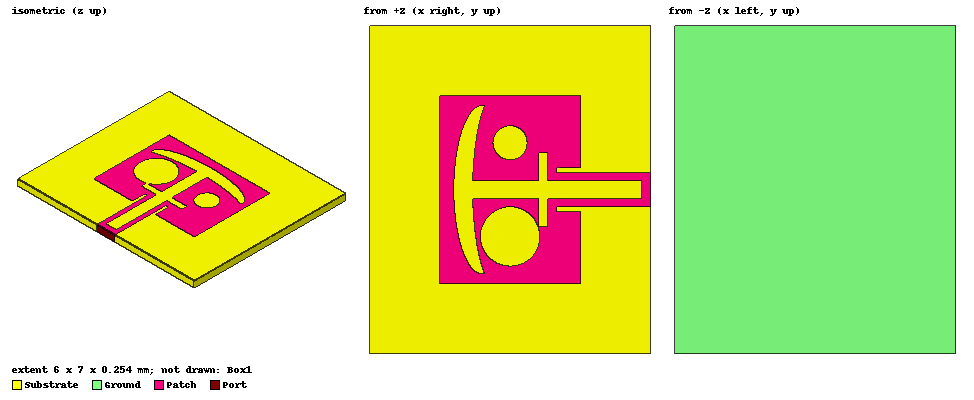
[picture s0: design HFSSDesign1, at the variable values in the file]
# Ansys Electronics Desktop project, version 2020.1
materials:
  vacuum: permittivity=1
  Rogers RT/duroid 5880 (tm): permittivity=2.2 dielectric_loss_tangent=0.0009
  air: permittivity=1.0006 permeability=1.0000004

design HFSSDesign1 (HFSS, DrivenModal, model units mm)
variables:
  LS = 6mm
  WS = 7mm
  HS = 0.254mm
  LF = 3mm
  WF = 0.72mm
  WI = 0.2mm
  LI = 0.5mm
  LR = 20mm
  WR = 20mm
  HR = 10mm
  R1 = 0.65mm
  R2 = 0.4mm
  d = 0
  c = 0
  a = 2.3mm
  b = 0.65mm
  LSG = 1mm
  WSG = 2mm
  A1 = 0.6mm
  B1 = 2mm
  lcR = 0.6336068mm
  rcR = 0.3636068mm
  r2L = 0.2mm
  r2W = 1.6mm
  LP = 3mm
  WP = 4mm
  R3 = 0.2mm  # optimise 0.1mm..0.35mm
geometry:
  Ground = rectangle(corner=(-LS/2, -WS/2, 0mm), x_size=LS, y_size=WS)
  Substrate [Rogers RT/duroid 5880 (tm)] = box(corner=(-LS/2, -WS/2, 0mm), size=(LS, WS, HS))
  Patch = rectangle(corner=(-LP/2, -WP/2, HS), x_size=LP, y_size=WP)
  coordinate_system RelativeCS1 = origin=(0mm, 0mm, 0mm) x=(1mm, 0mm, 0mm) y=(0mm, 1mm, 0mm)
  Feed = rectangle(corner=(0, -WF/2, HS), x_size=LF, y_size=WF) in RelativeCS1
  Inset = rectangle(corner=(LF-4*LI, -(WF+WI)/2, HS), x_size=LI, y_size=WF+WI) in RelativeCS1
  Patch.subtract(Inset)
  Patch.unite(Feed)
  Port = rectangle(corner=(LS/2, -WF/2, HS), y_size=WF, z_size=-HS) in RelativeCS1
  Box1 [air] = box(corner=(-LR/2, -WR/2, -HR/2), size=(LR, WR, HR)) in RelativeCS1
  Rectangle1 = rectangle(corner=(2.8mm, -0.2mm, HS), x_size=-3.8mm, y_size=0.4mm) in RelativeCS1
  Ellipse1 = ellipse(normal=Z, centre=(-0.6mm, 0mm, HS), major_radius=0.6mm, ratio=3) in RelativeCS1
  Ellipse2 = ellipse(normal=Z, centre=(-0.2mm, 0mm, HS), major_radius=0.6mm, ratio=3.6666667) in RelativeCS1
  Ellipse1.subtract(Ellipse2)
  Rectangle2 = rectangle(corner=(0.6mm, -0.8mm, HS), x_size=r2L, y_size=r2W) in RelativeCS1
  Patch.subtract(Rectangle1)
  Patch.subtract(Rectangle2)
  Patch.subtract(Ellipse1)
  Circle1 = circle(normal=Z, centre=(0mm, -1mm, HS), radius=lcR) in RelativeCS1
  Circle2 = circle(normal=Z, centre=(0mm, 1mm, HS), radius=rcR) in RelativeCS1
  Patch.subtract(Circle1)
  Patch.subtract(Circle2)
  Rectangle3 = rectangle(corner=(0.8mm, -2.6mm, 0mm), x_size=-1.2mm, y_size=5.4mm) in RelativeCS1
  Rectangle4 = rectangle(corner=(-1.2mm, -2.4mm, 0mm), x_size=-0.8mm, y_size=5mm) in RelativeCS1
  Ground.subtract(Rectangle3)
  Ground.subtract(Rectangle4)
  Rectangle5 = rectangle(corner=(1mm, -2.8mm, 0mm), x_size=-3.2mm, y_size=5.8mm) in RelativeCS1
  Ground.unite(Rectangle5)
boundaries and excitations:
  PerfE1: Perfect E Objects=Ground
  Rad1: Radiation Objects=Box1
  PerfE2: Perfect E Objects=Patch
  1: Lumped Port Objects=Port Modes{Mode1{IntLine{(3mm, 0mm, 0.25mm) -> middle of Port.edge(3 of 4)} CharImp=Zpi RenormImp=50ohm}} Impedance=50ohm
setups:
  Setup1: HfssDriven Frequency=28GHz MaxDeltaS=0.02 MaximumPasses=20 MinimumPasses=1 MinimumConvergedPasses=1 PercentRefinement=30 BasisOrder=1 PortAccuracy=2
    sweep Sweep1: 20GHz to 60GHz, 401 points; Type=Interpolating SaveFields InterpTolerance=0.5 InterpMaxSolns=250 InterpUsePortImped=false PassivityErrorTolerance=0.0001
  Setup2: HfssDriven Frequency=28GHz MaxDeltaS=0.02 MaximumPasses=20 MinimumPasses=1 MinimumConvergedPasses=1 PercentRefinement=30 BasisOrder=1 PortAccuracy=2
    sweep Sweep2: 20GHz to 65GHz step 0.1GHz; Type=Fast SaveFields
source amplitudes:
  1:1: 1W 0deg
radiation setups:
  Infinite Sphere1: Infinite Sphere Theta=-180deg..180deg step 10deg Phi=0deg..360deg step 10deg
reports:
  Gain Plot 1: dB(GainTotal) vs Freq on Setup1 : Sweep1, Infinite Sphere1 [Phi=0deg Theta=0deg]
  rE Plot 1: dB(rETotal) vs Phi, Theta on Setup1 : Sweep1, Infinite Sphere1 [Freq=20GHz]
  S Parameter Plot 1: dB(S(1,1)) vs Freq on Setup1 : Sweep1
  S Parameter Plot 2: dB(S(1,1)) vs Freq on Setup2 : Sweep2
  S Parameter Plot 3: dB(S(1,1)) vs Freq on Setup1 : Sweep1
